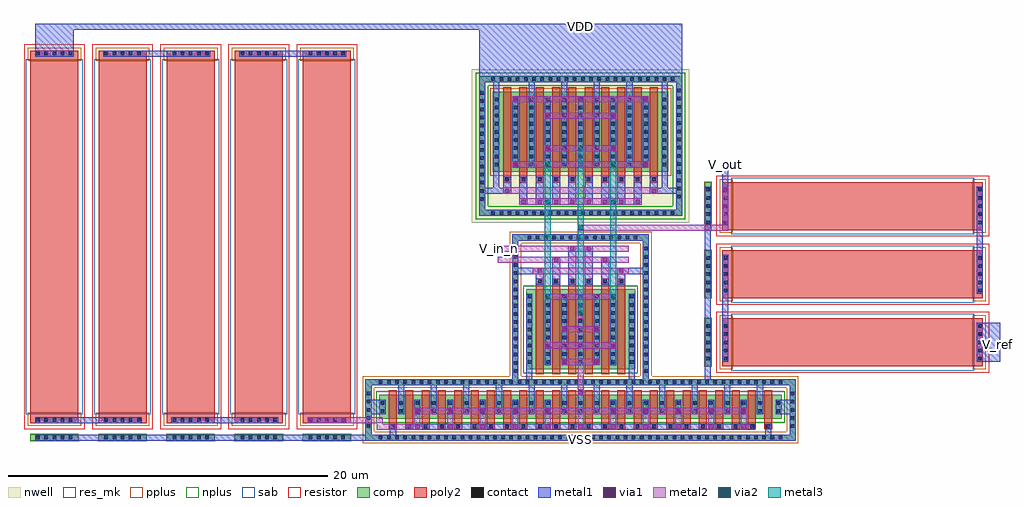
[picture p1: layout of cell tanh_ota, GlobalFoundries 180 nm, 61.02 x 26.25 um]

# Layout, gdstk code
from math import pi, radians
import gdstk
lib = gdstk.Library(unit=1e-6, precision=5e-09)
def R(c, l, rs):  # rectangles x0, y0, x1, y1
    for r in rs: c.add(gdstk.rectangle(r[:2], r[2:], *l))
def A(c, l, x, y, w, h, nx, ny, dx, dy):  # array of equal rectangles
    R(c, l, [(x+i*dx, y+j*dy, x+i*dx+w, y+j*dy+h) for i in range(nx) for j in range(ny)])
def P(c, l, *ps):  # polygons
    for p in ps: c.add(gdstk.Polygon(p, *l))
nwell = (21, 0)
comp = (22, 0)
poly2 = (30, 0)
pplus = (31, 0)
nplus = (32, 0)
contact = (33, 0)
metal1 = (34, 0)
via1 = (35, 0)
metal2 = (36, 0)
via2 = (38, 0)
metal3 = (42, 0)
sab = (49, 0)
resistor = (62, 0)
res_mk = (110, 5)

nfet_3 = lib.new_cell('nfet$3')
R(nfet_3, comp, [(-0.42,0,0,1.5), (0,0,24.34,1.5), (24.34,0,24.76,1.5)])
P(nfet_3, comp, [(-1.28,-1.36),(-1.28,2.11),(-0.9,2.11),(-0.9,-0.98),(25.24,-0.98),(25.24,2.11),(-1.28,2.11),(-1.28,2.49),(25.62,2.49),(25.62,-1.36)])
A(nfet_3, poly2, 0.19, -0.66, 0.5, 0.36, 24, 1, 1.02, 0)
A(nfet_3, poly2, 0.19, -0.3, 0.5, 2.1, 24, 1, 1.02, 0)
P(nfet_3, pplus, [(-1.45,-1.53),(-1.45,1.94),(-0.73,1.94),(-0.73,-0.81),(25.07,-0.81),(25.07,1.94),(-1.45,1.94),(-1.45,2.66),(25.79,2.66),(25.79,-1.53)])
R(nfet_3, nplus, [(-0.59,-0.24,24.93,1.74)])
A(nfet_3, contact, -0.435, -1.28, 0.22, 0.22, 50, 2, 0.51, 3.47)
A(nfet_3, contact, 0.33, -0.59, 0.22, 0.22, 24, 1, 1.02, 0)
A(nfet_3, contact, -1.2, -0.565, 0.22, 0.22, 1, 5, 0, 0.51)
A(nfet_3, contact, 25.32, -0.565, 0.22, 0.22, 1, 5, 0, 0.51)
A(nfet_3, contact, 0.84, 0.385, 0.22, 0.22, 23, 2, 1.02, 0.51)
R(nfet_3, contact, [(-0.32,0.385,-0.1,0.605), (24.44,0.385,24.66,0.605), (-0.32,0.895,-0.1,1.115), (24.44,0.895,24.66,1.115)])
A(nfet_3, metal1, 0.25, -0.67, 0.38, 0.38, 24, 1, 1.02, 0)
A(nfet_3, metal1, 0.76, 0.305, 0.38, 0.89, 23, 1, 1.02, 0)
R(nfet_3, metal1, [(-0.4,0.305,-0.02,1.195), (24.36,0.305,24.74,1.195)])

ppolyf_u_high_rs_resisto = lib.new_cell('ppolyf_u_high_Rs_resistor$2')
R(ppolyf_u_high_rs_resisto, comp, [(-1.76,0,-1.34,3)])
R(ppolyf_u_high_rs_resisto, poly2, [(-0.64,0,22.64,3)])
R(ppolyf_u_high_rs_resisto, pplus, [(-0.82,-0.18,0,3.18), (22,-0.18,22.82,3.18), (-1.78,-0.02,-1.32,3.02)])
A(ppolyf_u_high_rs_resisto, contact, -1.66, 0.37, 0.22, 0.22, 1, 5, 0, 0.51)
A(ppolyf_u_high_rs_resisto, contact, -0.57, 0.37, 0.22, 0.22, 1, 5, 0, 0.51)
A(ppolyf_u_high_rs_resisto, contact, 22.35, 0.37, 0.22, 0.22, 1, 5, 0, 0.51)
R(ppolyf_u_high_rs_resisto, metal1, [(-1.74,0.29,-1.36,2.71), (-0.65,0.29,-0.27,2.71), (22.27,0.29,22.65,2.71)])
R(ppolyf_u_high_rs_resisto, sab, [(-0.1,-0.28,22.1,3.28)])
R(ppolyf_u_high_rs_resisto, resistor, [(-1.04,-0.4,23.04,3.4)])
R(ppolyf_u_high_rs_resisto, res_mk, [(0,0,22,3)])

c_ppolyf_u_high_rs_resisto = lib.new_cell('ppolyf_u_high_Rs_resistor$3')
R(c_ppolyf_u_high_rs_resisto, comp, [(-1.76,0,-1.34,3)])
R(c_ppolyf_u_high_rs_resisto, poly2, [(-0.64,0,15.64,3)])
R(c_ppolyf_u_high_rs_resisto, pplus, [(-0.82,-0.18,0,3.18), (15,-0.18,15.82,3.18), (-1.78,-0.02,-1.32,3.02)])
A(c_ppolyf_u_high_rs_resisto, contact, -1.66, 0.37, 0.22, 0.22, 1, 5, 0, 0.51)
A(c_ppolyf_u_high_rs_resisto, contact, -0.57, 0.37, 0.22, 0.22, 1, 5, 0, 0.51)
A(c_ppolyf_u_high_rs_resisto, contact, 15.35, 0.37, 0.22, 0.22, 1, 5, 0, 0.51)
R(c_ppolyf_u_high_rs_resisto, metal1, [(-1.74,0.29,-1.36,2.71), (-0.65,0.29,-0.27,2.71), (15.27,0.29,15.65,2.71)])
R(c_ppolyf_u_high_rs_resisto, sab, [(-0.1,-0.28,15.1,3.28)])
R(c_ppolyf_u_high_rs_resisto, resistor, [(-1.04,-0.4,16.04,3.4)])
R(c_ppolyf_u_high_rs_resisto, res_mk, [(0,0,15,3)])

tanh_ota = lib.new_cell('tanh_ota')
R(tanh_ota, nwell, [(16.385,27.755,29.965,37.375)])
R(tanh_ota, comp, [(19.765,18.6,20.185,23.6), (20.185,18.6,26.165,23.6), (26.165,18.6,26.585,23.6), (17.685,30.945,18.145,35.945), (18.145,30.945,28.205,35.945), (28.205,30.945,28.665,35.945)])
P(tanh_ota, comp, [(18.905,17.61),(18.905,26.65),(19.285,26.65),(19.285,17.99),(27.065,17.99),(27.065,26.65),(18.905,26.65),(18.905,27.03),(27.445,27.03),(27.445,17.61)],
  [(16.825,28.195),(16.825,36.555),(17.205,36.555),(17.205,28.575),(29.145,28.575),(29.145,36.555),(16.825,36.555),(16.825,36.935),(29.525,36.935),(29.525,28.195)])
A(tanh_ota, poly2, 20.375, 18.3, 0.5, 5.6, 6, 1, 1.02, 0)
A(tanh_ota, poly2, 20.375, 23.9, 0.5, 0.36, 6, 1, 1.02, 0)
A(tanh_ota, poly2, 18.335, 30.265, 0.5, 0.38, 10, 1, 1.02, 0)
A(tanh_ota, poly2, 18.335, 30.645, 0.5, 5.6, 10, 1, 1.02, 0)
R(tanh_ota, pplus, [(17.515,30.705,28.835,36.185)])
P(tanh_ota, pplus, [(18.735,17.44),(18.735,26.48),(19.455,26.48),(19.455,18.16),(26.895,18.16),(26.895,26.48),(18.735,26.48),(18.735,27.2),(27.615,27.2),(27.615,17.44)])
R(tanh_ota, nplus, [(19.595,18.36,26.755,23.84)])
A(tanh_ota, contact, 19.75, 17.69, 0.22, 0.22, 14, 1, 0.51, 0)
A(tanh_ota, contact, 18.985, 18.385, 0.22, 0.22, 1, 16, 0, 0.51)
A(tanh_ota, contact, 27.145, 18.385, 0.22, 0.22, 1, 16, 0, 0.51)
A(tanh_ota, contact, 19.865, 18.95, 0.22, 0.22, 1, 9, 0, 0.51)
A(tanh_ota, contact, 21.025, 18.95, 0.22, 0.22, 5, 9, 1.02, 0.51)
A(tanh_ota, contact, 26.265, 18.95, 0.22, 0.22, 1, 9, 0, 0.51)
A(tanh_ota, contact, 20.515, 23.97, 0.22, 0.22, 6, 1, 1.02, 0)
A(tanh_ota, contact, 19.875, 26.73, 0.22, 0.22, 14, 1, 0.51, 0)
A(tanh_ota, contact, 17.6, 28.275, 0.22, 0.22, 23, 2, 0.51, 8.36)
A(tanh_ota, contact, 16.905, 29.14, 0.22, 0.22, 1, 14, 0, 0.51)
A(tanh_ota, contact, 29.225, 29.29, 0.22, 0.22, 1, 14, 0, 0.51)
A(tanh_ota, contact, 18.475, 30.345, 0.22, 0.22, 10, 1, 1.02, 0)
A(tanh_ota, contact, 17.805, 31.295, 0.22, 0.22, 1, 9, 0, 0.51)
A(tanh_ota, contact, 18.985, 31.295, 0.22, 0.22, 9, 9, 1.02, 0.51)
A(tanh_ota, contact, 28.325, 31.295, 0.22, 0.22, 1, 9, 0, 0.51)
A(tanh_ota, metal1, 20.945, 18.87, 0.38, 4.46, 5, 1, 1.02, 0)
A(tanh_ota, metal1, 20.435, 23.89, 0.38, 0.38, 6, 1, 1.02, 0)
A(tanh_ota, metal1, 19.355, 28.885, 0.5, 1.76, 8, 1, 1.02, 0)
A(tanh_ota, metal1, 18.395, 30.265, 0.38, 0.38, 10, 1, 1.02, 0)
A(tanh_ota, metal1, 18.905, 31.215, 0.38, 4.46, 9, 1, 1.02, 0)
R(tanh_ota, metal1, [(-10.935,14.14,8.525,14.52), (11.255,14.52,11.635,15.21), (34.715,14.52,35.095,15.21), (12.275,14.83,34.075,15.21), (-10.935,15.23,-4.255,15.61), (-2.415,15.23,4.265,15.61), (9.725,15.805,10.985,16.695), (35.365,15.805,36.625,16.695), (19.785,18.87,20.165,23.33), (26.185,18.87,26.565,23.33), (30.945,19.08,31.325,30.02), (32.035,19.08,32.415,25.76), (47.955,19.08,49.4,21.5), (47.955,23.34,48.335,30.02), (20.375,23.89,20.875,24.96), (21.395,23.89,21.895,25.65), (22.415,23.89,22.915,26.34), (23.435,23.89,23.935,26.34), (24.455,23.89,24.955,25.65), (25.475,23.89,25.975,24.96), (32.035,27.6,32.415,31.5), (18.335,29.575,18.835,30.645), (27.515,29.575,28.015,30.645), (17.725,31.215,18.105,35.675), (28.245,31.215,28.625,35.675), (16.825,36.555,29.525,40.215), (-10.935,38.15,-8.515,40.215), (-6.675,38.15,0.005,38.53), (1.845,38.15,8.525,38.53)])
A(tanh_ota, via1, 12.845, 14.895, 0.26, 0.26, 6, 1, 2.04, 0)
A(tanh_ota, via1, 25.09, 14.895, 0.26, 0.26, 5, 1, 2.04, 0)
A(tanh_ota, via1, 6.165, 15.29, 0.26, 0.26, 3, 1, 1.02, 0)
A(tanh_ota, via1, 12.845, 15.865, 0.26, 0.26, 5, 1, 2.04, 0)
A(tanh_ota, via1, 25.085, 15.865, 0.26, 0.26, 5, 1, 2.04, 0)
A(tanh_ota, via1, 32.095, 27.64, 0.26, 0.26, 1, 3, 0, 1.02)
A(tanh_ota, via1, 19.475, 28.955, 0.26, 0.26, 8, 1, 1.02, 0)
A(tanh_ota, via1, 18.965, 31.275, 0.26, 0.26, 3, 2, 4.08, 4.085)
R(tanh_ota, via1, [(23.045,17.045,23.305,17.305), (22.025,18.93,22.285,19.19), (24.065,18.93,24.325,19.19), (21.005,19.95,21.265,20.21), (25.08,19.95,25.34,20.21), (22.025,20.965,22.285,21.225), (24.065,20.965,24.325,21.225), (23.045,21.99,23.305,22.25), (21.005,23.01,21.265,23.27), (25.08,23.01,25.34,23.27), (20.495,24.63,20.755,24.89), (25.595,24.63,25.855,24.89), (21.515,25.32,21.775,25.58), (24.575,25.32,24.835,25.58), (22.535,26.01,22.795,26.27), (23.555,26.01,23.815,26.27), (18.455,29.645,18.715,29.905), (27.635,29.645,27.895,29.905), (21.005,32.3,21.265,32.56), (25.08,32.3,25.34,32.56), (21.01,34.335,21.27,34.595), (25.085,34.335,25.345,34.595)])
A(tanh_ota, metal2, 12.785, 14.83, 0.38, 1.355, 6, 1, 2.04, 0)
A(tanh_ota, metal2, 25.03, 14.83, 0.38, 1.355, 5, 1, 2.04, 0)
R(tanh_ota, metal2, [(22.985,21.755,23.365,22.52), (20.185,24.56,26.18,24.96), (18,25.25,26.18,25.65), (18,25.94,26.18,26.34), (19.355,28.885,26.995,29.285), (18.335,29.575,28.015,29.975)])
R(tanh_ota, via2, [(23.045,21.99,23.305,22.25), (21,23.01,21.26,23.27), (25.08,23.01,25.34,23.27), (23.045,27.335,23.305,27.595), (21.005,28.955,21.265,29.215), (25.085,28.955,25.345,29.215), (21.005,31.275,21.265,31.535), (25.085,31.275,25.345,31.535), (23.045,32.295,23.305,32.555)])
tanh_ota.add(gdstk.FlexPath([(36.435,14.935),(36.435,17.8),(9.915,17.8),(9.915,14.33),(36.435,14.33),(36.435,14.935)], 0.38, ends="flush", simple_path=True, layer=34, datatype=0))  # metal1
tanh_ota.add(gdstk.FlexPath([(19.095,18.385),(19.095,26.84),(27.255,26.84),(27.255,17.99)], 0.38, ends="flush", simple_path=True, layer=34, datatype=0))  # metal1
tanh_ota.add(gdstk.FlexPath([(19.095,18.385),(19.095,17.99)], 0.38, ends="flush", simple_path=True, layer=34, datatype=0))  # metal1
tanh_ota.add(gdstk.FlexPath([(11.955,16.695),(11.955,17.61)], 0.38, ends="flush", simple_path=True, layer=34, datatype=0))  # metal1
tanh_ota.add(gdstk.FlexPath([(13.995,16.695),(13.995,17.61)], 0.38, ends="flush", simple_path=True, layer=34, datatype=0))  # metal1
tanh_ota.add(gdstk.FlexPath([(16.035,16.695),(16.035,17.61)], 0.38, ends="flush", simple_path=True, layer=34, datatype=0))  # metal1
tanh_ota.add(gdstk.FlexPath([(18.075,16.695),(18.075,17.61)], 0.38, ends="flush", simple_path=True, layer=34, datatype=0))  # metal1
tanh_ota.add(gdstk.FlexPath([(20.115,16.695),(20.115,17.61)], 0.38, ends="flush", simple_path=True, layer=34, datatype=0))  # metal1
tanh_ota.add(gdstk.FlexPath([(22.155,16.695),(22.155,17.61)], 0.38, ends="flush", simple_path=True, layer=34, datatype=0))  # metal1
tanh_ota.add(gdstk.FlexPath([(24.195,16.695),(24.195,17.61)], 0.38, ends="flush", simple_path=True, layer=34, datatype=0))  # metal1
tanh_ota.add(gdstk.FlexPath([(26.235,16.695),(26.235,17.61)], 0.38, ends="flush", simple_path=True, layer=34, datatype=0))  # metal1
tanh_ota.add(gdstk.FlexPath([(28.275,16.695),(28.275,17.61)], 0.38, ends="flush", simple_path=True, layer=34, datatype=0))  # metal1
tanh_ota.add(gdstk.FlexPath([(30.315,16.695),(30.315,17.61)], 0.38, ends="flush", simple_path=True, layer=34, datatype=0))  # metal1
tanh_ota.add(gdstk.FlexPath([(32.355,16.695),(32.355,17.61)], 0.38, ends="flush", simple_path=True, layer=34, datatype=0))  # metal1
tanh_ota.add(gdstk.FlexPath([(34.395,16.695),(34.395,17.61)], 0.38, ends="flush", simple_path=True, layer=34, datatype=0))  # metal1
tanh_ota.add(gdstk.FlexPath([(23.175,16.695),(23.175,17.355)], 0.38, ends="flush", simple_path=True, layer=34, datatype=0))  # metal1
tanh_ota.add(gdstk.FlexPath([(19.975,18.87),(19.975,17.99)], 0.38, ends="flush", simple_path=True, layer=34, datatype=0))  # metal1
tanh_ota.add(gdstk.FlexPath([(26.375,18.87),(26.375,17.99)], 0.38, ends="flush", simple_path=True, layer=34, datatype=0))  # metal1
tanh_ota.add(gdstk.FlexPath([(20.875,24.76),(18.905,24.76)], 0.4, ends="flush", simple_path=True, layer=34, datatype=0))  # metal1
tanh_ota.add(gdstk.FlexPath([(25.475,24.76),(27.445,24.76)], 0.4, ends="flush", simple_path=True, layer=34, datatype=0))  # metal1
tanh_ota.add(gdstk.FlexPath([(17.6,28.385),(29.335,28.385),(29.335,36.745),(17.015,36.745),(17.015,28.385),(17.6,28.385)], 0.38, ends="flush", simple_path=True, layer=34, datatype=0))  # metal1
tanh_ota.add(gdstk.FlexPath([(17.915,35.675),(17.915,36.555)], 0.38, ends="flush", simple_path=True, layer=34, datatype=0))  # metal1
tanh_ota.add(gdstk.FlexPath([(20.115,35.675),(20.115,36.555)], 0.38, ends="flush", simple_path=True, layer=34, datatype=0))  # metal1
tanh_ota.add(gdstk.FlexPath([(22.155,35.675),(22.155,36.555)], 0.38, ends="flush", simple_path=True, layer=34, datatype=0))  # metal1
tanh_ota.add(gdstk.FlexPath([(24.195,35.675),(24.195,36.555)], 0.38, ends="flush", simple_path=True, layer=34, datatype=0))  # metal1
tanh_ota.add(gdstk.FlexPath([(26.235,35.675),(26.235,36.555)], 0.38, ends="flush", simple_path=True, layer=34, datatype=0))  # metal1
tanh_ota.add(gdstk.FlexPath([(28.435,35.675),(28.435,36.555)], 0.38, ends="flush", simple_path=True, layer=34, datatype=0))  # metal1
tanh_ota.add(gdstk.FlexPath([(17.915,31.215),(17.915,29.775),(18.835,29.775)], 0.38, ends="flush", simple_path=True, layer=34, datatype=0))  # metal1
tanh_ota.add(gdstk.FlexPath([(28.435,31.215),(28.435,29.775),(27.515,29.775)], 0.38, ends="flush", simple_path=True, layer=34, datatype=0))  # metal1
tanh_ota.add(gdstk.FlexPath([(17.725,29.775),(16.825,29.775)], 0.38, ends="flush", simple_path=True, layer=34, datatype=0))  # metal1
tanh_ota.add(gdstk.FlexPath([(28.625,29.775),(29.525,29.775)], 0.38, ends="flush", simple_path=True, layer=34, datatype=0))  # metal1
tanh_ota.add(gdstk.FlexPath([(31.135,19.08),(31.135,17.61)], 0.38, ends="flush", simple_path=True, layer=34, datatype=0))  # metal1
tanh_ota.add(gdstk.FlexPath([(8.525,14.33),(10.105,14.33)], 0.38, ends="flush", simple_path=True, layer=34, datatype=0))  # metal1
tanh_ota.add(gdstk.FlexPath([(-8.515,40.025),(29.53,40.025)], 0.38, ends="flush", simple_path=True, layer=34, datatype=0))  # metal1
tanh_ota.add(gdstk.FlexPath([(17.6,28.385),(29.335,28.385),(29.335,36.745),(17.015,36.745),(17.015,28.385),(17.6,28.385)], 0.8, ends="flush", simple_path=True, layer=32, datatype=0))  # nplus
tanh_ota.add(gdstk.FlexPath([(20.945,23.14),(25.405,23.14)], 0.4, ends="flush", simple_path=True, layer=36, datatype=0))  # metal2
tanh_ota.add(gdstk.FlexPath([(18.905,35.485),(27.445,35.485)], 0.38, ends="flush", simple_path=True, layer=36, datatype=0))  # metal2
tanh_ota.add(gdstk.FlexPath([(20.945,34.46),(25.405,34.46)], 0.38, ends="flush", simple_path=True, layer=36, datatype=0))  # metal2
tanh_ota.add(gdstk.FlexPath([(12.785,15.995),(33.565,15.995)], 0.38, ends="flush", simple_path=True, layer=36, datatype=0))  # metal2
tanh_ota.add(gdstk.FlexPath([(21.965,19.06),(24.385,19.06)], 0.38, ends="flush", simple_path=True, layer=36, datatype=0))  # metal2
tanh_ota.add(gdstk.FlexPath([(23.175,19.25),(23.175,17)], 0.38, ends="flush", simple_path=True, layer=36, datatype=0))  # metal2
tanh_ota.add(gdstk.FlexPath([(18.9,31.405),(27.44,31.405)], 0.38, ends="flush", simple_path=True, layer=36, datatype=0))  # metal2
tanh_ota.add(gdstk.FlexPath([(20.94,32.43),(25.4,32.43)], 0.38, ends="flush", simple_path=True, layer=36, datatype=0))  # metal2
tanh_ota.add(gdstk.FlexPath([(20.945,20.08),(25.405,20.08)], 0.4, ends="flush", simple_path=True, layer=36, datatype=0))  # metal2
tanh_ota.add(gdstk.FlexPath([(22.985,27.46),(32.415,27.46)], 0.38, ends="flush", simple_path=True, layer=36, datatype=0))  # metal2
tanh_ota.add(gdstk.FlexPath([(6.105,15.42),(10.61,15.42),(10.61,15.02),(13.165,15.02)], 0.38, ends="flush", simple_path=True, layer=36, datatype=0))  # metal2
tanh_ota.add(gdstk.FlexPath([(32.225,27.65),(32.225,30.02)], 0.38, ends="flush", simple_path=True, layer=36, datatype=0))  # metal2
tanh_ota.add(gdstk.FlexPath([(21.965,21.095),(24.385,21.095)], 0.38, ends="flush", simple_path=True, layer=36, datatype=0))  # metal2
tanh_ota.add(gdstk.FlexPath([(21.135,22.94),(21.135,31.595)], 0.38, ends="flush", simple_path=True, layer=42, datatype=0))  # metal3
tanh_ota.add(gdstk.FlexPath([(25.215,22.94),(25.215,31.595)], 0.38, ends="flush", simple_path=True, layer=42, datatype=0))  # metal3
tanh_ota.add(gdstk.FlexPath([(23.175,32.62),(23.175,21.945)], 0.38, ends="flush", simple_path=True, layer=42, datatype=0))  # metal3
tanh_ota.add(gdstk.Reference(nfet_3, (11.005,15.5)))
tanh_ota.add(gdstk.Reference(ppolyf_u_high_rs_resisto, (8.815,15.88), rotation=pi/2))
tanh_ota.add(gdstk.Reference(ppolyf_u_high_rs_resisto, (4.555,15.88), rotation=pi/2))
tanh_ota.add(gdstk.Reference(ppolyf_u_high_rs_resisto, (0.295,15.88), rotation=pi/2))
tanh_ota.add(gdstk.Reference(ppolyf_u_high_rs_resisto, (-3.965,15.88), rotation=pi/2))
tanh_ota.add(gdstk.Reference(ppolyf_u_high_rs_resisto, (-8.225,15.88), rotation=pi/2))
tanh_ota.add(gdstk.Reference(c_ppolyf_u_high_rs_resisto, (32.685,21.79), x_reflection=True))
tanh_ota.add(gdstk.Reference(c_ppolyf_u_high_rs_resisto, (32.685,26.05), x_reflection=True))
tanh_ota.add(gdstk.Reference(c_ppolyf_u_high_rs_resisto, (32.685,30.31), x_reflection=True))
tanh_ota.add(gdstk.Label('VDD', (23.175,40.035), layer=34, texttype=10))
tanh_ota.add(gdstk.Label('VSS', (23.17,14.205), layer=34, texttype=10))
tanh_ota.add(gdstk.Label('V_out', (32.22,31.43), layer=34, texttype=10))
tanh_ota.add(gdstk.Label('V_ref', (49.235,20.13), layer=34, texttype=10))
tanh_ota.add(gdstk.Label('V_in_n', (18.115,26.14), layer=36, texttype=10))
tanh_ota.add(gdstk.Label('V_in_p', (18.1,25.42), layer=36, texttype=10))

lib.write_gds('tanh_ota.gds')
